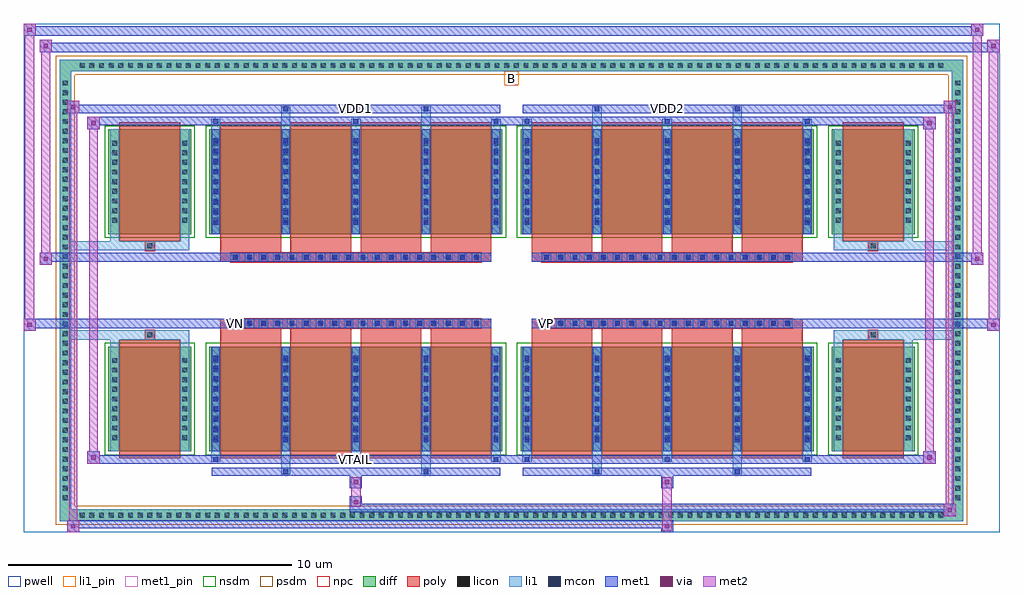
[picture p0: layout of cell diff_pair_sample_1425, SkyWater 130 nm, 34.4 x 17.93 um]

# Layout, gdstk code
import gdstk
lib = gdstk.Library(unit=1e-6, precision=5e-09)
def R(c, l, rs):  # rectangles x0, y0, x1, y1
    for r in rs: c.add(gdstk.rectangle(r[:2], r[2:], *l))
def A(c, l, x, y, w, h, nx, ny, dx, dy):  # array of equal rectangles
    R(c, l, [(x+i*dx, y+j*dy, x+i*dx+w, y+j*dy+h) for i in range(nx) for j in range(ny)])
def P(c, l, *ps):  # polygons
    for p in ps: c.add(gdstk.Polygon(p, *l))
pwell = (64, 44)
diff = (65, 20)
poly = (66, 20)
licon = (66, 44)
li1_pin = (67, 16)
li1 = (67, 20)
mcon = (67, 44)
met1_pin = (68, 16)
met1 = (68, 20)
via = (68, 44)
met2 = (69, 20)
nsdm = (93, 44)
psdm = (94, 20)
npc = (95, 20)

diff_pair_sample_1425 = lib.new_cell('diff_pair_sample_1425')
R(diff_pair_sample_1425, pwell, [(-17.2,-8.53,17.2,9.4), (-14.52,-6.72,-0.01,-0.8), (0.01,-6.72,14.52,-0.8), (-14.52,0.8,-0.01,6.72), (0.01,0.8,14.52,6.72)])
A(diff_pair_sample_1425, diff, -15.335, -8.13, 0.41, 0.41, 90, 2, 0.34, 15.85)
A(diff_pair_sample_1425, diff, -15.93, -7.515, 0.41, 0.41, 1, 44, 0, 0.34)
A(diff_pair_sample_1425, diff, 15.52, -7.515, 0.41, 0.41, 1, 44, 0, 0.34)
R(diff_pair_sample_1425, diff, [(-15.335,-8.13,15.335,-7.72), (-15.93,-7.515,-15.52,7.515), (15.52,-7.515,15.93,7.515), (-14.21,-5.675,-11.29,-1.985), (-10.65,-5.675,-0.32,-1.985), (0.32,-5.675,10.65,-1.985), (11.29,-5.675,14.21,-1.985), (-14.21,1.985,-11.29,5.675), (-10.65,1.985,-0.32,5.675), (0.32,1.985,10.65,5.675), (11.29,1.985,14.21,5.675), (-15.335,7.72,15.335,8.13)])
P(diff_pair_sample_1425, diff, [(15.93,8.13),(-15.93,8.13),(-15.93,-7.72),(-15.52,-7.72),(-15.52,7.72),(15.52,7.72),(15.52,-7.72),(-15.52,-7.72),(-15.93,-7.72),(-15.93,-8.13),(15.93,-8.13)])
A(diff_pair_sample_1425, poly, -10.26, -5.925, 2.14, 4.19, 4, 2, 2.47, 7.66)
A(diff_pair_sample_1425, poly, 0.71, -5.925, 2.14, 4.19, 4, 2, 2.47, 7.66)
A(diff_pair_sample_1425, poly, -10.26, -1.735, 2.14, 0.405, 4, 2, 2.47, 3.065)
A(diff_pair_sample_1425, poly, 0.71, -1.735, 2.14, 0.405, 4, 2, 2.47, 3.065)
A(diff_pair_sample_1425, poly, -9.9, -1.33, 0.33, 0.33, 18, 2, 0.5, 2.33)
A(diff_pair_sample_1425, poly, 1.07, -1.33, 0.33, 0.33, 18, 2, 0.5, 2.33)
R(diff_pair_sample_1425, poly, [(-13.82,-5.925,-11.68,-1.735), (11.68,-5.925,13.82,-1.735), (-12.915,-1.735,-12.585,-1.405), (-12.915,-1.735,-12.585,-1.405), (12.585,-1.735,12.915,-1.405), (12.585,-1.735,12.915,-1.405), (-10.26,-1.33,-0.71,-1), (0.71,-1.33,10.26,-1), (-10.26,1,-0.71,1.33), (0.71,1,10.26,1.33), (-12.915,1.405,-12.585,1.735), (-12.915,1.405,-12.585,1.735), (12.585,1.405,12.915,1.735), (12.585,1.405,12.915,1.735), (-13.82,1.735,-11.68,5.925), (11.68,1.735,13.82,5.925)])
A(diff_pair_sample_1425, licon, -15.215, -8.01, 0.17, 0.17, 90, 2, 0.34, 15.85)
A(diff_pair_sample_1425, licon, -15.81, -7.395, 0.17, 0.17, 1, 44, 0, 0.34)
A(diff_pair_sample_1425, licon, 15.64, -7.395, 0.17, 0.17, 1, 44, 0, 0.34)
A(diff_pair_sample_1425, licon, -14.07, -5.275, 0.17, 0.17, 1, 9, 0, 0.34)
A(diff_pair_sample_1425, licon, -11.6, -5.275, 0.17, 0.17, 1, 9, 0, 0.34)
A(diff_pair_sample_1425, licon, -10.51, -5.275, 0.17, 0.17, 5, 9, 2.47, 0.34)
A(diff_pair_sample_1425, licon, 0.46, -5.275, 0.17, 0.17, 5, 9, 2.47, 0.34)
A(diff_pair_sample_1425, licon, 11.43, -5.275, 0.17, 0.17, 1, 9, 0, 0.34)
A(diff_pair_sample_1425, licon, 13.9, -5.275, 0.17, 0.17, 1, 9, 0, 0.34)
A(diff_pair_sample_1425, licon, -9.82, -1.25, 0.17, 0.17, 18, 2, 0.5, 2.33)
A(diff_pair_sample_1425, licon, 1.15, -1.25, 0.17, 0.17, 18, 2, 0.5, 2.33)
A(diff_pair_sample_1425, licon, -14.07, 2.385, 0.17, 0.17, 1, 9, 0, 0.34)
A(diff_pair_sample_1425, licon, -11.6, 2.385, 0.17, 0.17, 1, 9, 0, 0.34)
A(diff_pair_sample_1425, licon, -10.51, 2.385, 0.17, 0.17, 5, 9, 2.47, 0.34)
A(diff_pair_sample_1425, licon, 0.46, 2.385, 0.17, 0.17, 5, 9, 2.47, 0.34)
A(diff_pair_sample_1425, licon, 11.43, 2.385, 0.17, 0.17, 1, 9, 0, 0.34)
A(diff_pair_sample_1425, licon, 13.9, 2.385, 0.17, 0.17, 1, 9, 0, 0.34)
R(diff_pair_sample_1425, licon, [(-12.835,-1.655,-12.665,-1.485), (12.665,-1.655,12.835,-1.485), (-12.835,1.485,-12.665,1.655), (12.665,1.485,12.835,1.655)])
R(diff_pair_sample_1425, li1_pin, [(-0.25,7.22,0.25,7.72)])
A(diff_pair_sample_1425, li1, -15.295, -8.09, 0.33, 0.33, 90, 2, 0.34, 15.85)
A(diff_pair_sample_1425, li1, -15.89, -7.475, 0.33, 0.33, 1, 44, 0, 0.34)
A(diff_pair_sample_1425, li1, 15.56, -7.475, 0.33, 0.33, 1, 44, 0, 0.34)
A(diff_pair_sample_1425, li1, -10.59, -6.05, 0.33, 0.375, 3, 2, 4.94, 11.725)
A(diff_pair_sample_1425, li1, -10.51, -6.05, 0.17, 0.17, 3, 2, 4.94, 11.93)
A(diff_pair_sample_1425, li1, 0.38, -6.05, 0.33, 0.375, 3, 2, 4.94, 11.725)
A(diff_pair_sample_1425, li1, 0.46, -6.05, 0.17, 0.17, 3, 2, 4.94, 11.93)
A(diff_pair_sample_1425, li1, -10.59, -5.675, 0.33, 3.69, 5, 2, 2.47, 7.66)
A(diff_pair_sample_1425, li1, 0.38, -5.675, 0.33, 3.69, 5, 2, 2.47, 7.66)
A(diff_pair_sample_1425, li1, -14.15, -5.355, 0.33, 0.33, 1, 9, 0, 0.34)
A(diff_pair_sample_1425, li1, -11.68, -5.355, 0.33, 0.33, 1, 9, 0, 0.34)
A(diff_pair_sample_1425, li1, -10.59, -5.355, 0.33, 0.33, 5, 9, 2.47, 0.34)
A(diff_pair_sample_1425, li1, -10.51, -5.355, 0.17, 0.17, 5, 9, 2.47, 0.36)
A(diff_pair_sample_1425, li1, -10.51, -5.355, 0.17, 3.05, 5, 2, 2.47, 7.66)
A(diff_pair_sample_1425, li1, 0.38, -5.355, 0.33, 0.33, 5, 9, 2.47, 0.34)
A(diff_pair_sample_1425, li1, 0.46, -5.355, 0.17, 0.17, 5, 9, 2.47, 0.36)
A(diff_pair_sample_1425, li1, 0.46, -5.355, 0.17, 3.05, 5, 2, 2.47, 7.66)
A(diff_pair_sample_1425, li1, 11.35, -5.355, 0.33, 0.33, 1, 9, 0, 0.34)
A(diff_pair_sample_1425, li1, 13.82, -5.355, 0.33, 0.33, 1, 9, 0, 0.34)
A(diff_pair_sample_1425, li1, -9.9, -1.33, 0.33, 0.33, 18, 2, 0.5, 2.33)
A(diff_pair_sample_1425, li1, 1.07, -1.33, 0.33, 0.33, 18, 2, 0.5, 2.33)
A(diff_pair_sample_1425, li1, -14.15, 2.305, 0.33, 0.33, 1, 9, 0, 0.34)
A(diff_pair_sample_1425, li1, -11.68, 2.305, 0.33, 0.33, 1, 9, 0, 0.34)
A(diff_pair_sample_1425, li1, -10.59, 2.305, 0.33, 0.33, 5, 9, 2.47, 0.34)
A(diff_pair_sample_1425, li1, -10.51, 2.305, 0.17, 0.17, 5, 9, 2.47, 0.36)
A(diff_pair_sample_1425, li1, 0.38, 2.305, 0.33, 0.33, 5, 9, 2.47, 0.34)
A(diff_pair_sample_1425, li1, 0.46, 2.305, 0.17, 0.17, 5, 9, 2.47, 0.36)
A(diff_pair_sample_1425, li1, 11.35, 2.305, 0.33, 0.33, 1, 9, 0, 0.34)
A(diff_pair_sample_1425, li1, 13.82, 2.305, 0.33, 0.33, 1, 9, 0, 0.34)
R(diff_pair_sample_1425, li1, [(-15.93,-8.13,-15.52,-7.72), (-15.93,-8.13,-15.52,-7.72), (-15.52,-8.13,15.52,-7.72), (15.52,-8.13,15.93,-7.72), (15.52,-8.13,15.93,-7.72), (-15.93,-7.72,-15.52,7.72), (15.52,-7.72,15.93,7.72), (-8.12,-6.48,-7.79,-5.675), (-8.04,-6.48,-7.87,-6.31), (-3.18,-6.48,-2.85,-5.675), (-3.1,-6.48,-2.93,-6.31), (2.85,-6.48,3.18,-5.675), (2.93,-6.48,3.1,-6.31), (7.79,-6.48,8.12,-5.675), (7.87,-6.48,8.04,-6.31), (-14.15,-5.675,-13.82,-1.985), (-11.68,-5.675,-11.35,-1.985), (11.35,-5.675,11.68,-1.985), (13.82,-5.675,14.15,-1.985), (-14.15,-1.985,-13.82,-1.405), (-11.68,-1.985,-11.35,-1.405), (11.35,-1.985,11.68,-1.405), (13.82,-1.985,14.15,-1.405), (-15.93,-1.735,-12.915,-1.405), (-14.15,-1.735,-12.915,-1.405), (-12.915,-1.735,-12.585,-1.405), (-12.585,-1.735,-11.35,-1.405), (11.35,-1.735,12.585,-1.405), (12.585,-1.735,12.915,-1.405), (12.585,-1.735,15.93,-1.405), (12.915,-1.735,14.15,-1.405), (-15.93,1.405,-12.915,1.735), (-14.15,1.405,-12.915,1.735), (-14.15,1.405,-13.82,1.985), (-12.915,1.405,-12.585,1.735), (-12.585,1.405,-11.35,1.735), (-11.68,1.405,-11.35,1.985), (11.35,1.405,12.585,1.735), (11.35,1.405,11.68,1.985), (12.585,1.405,12.915,1.735), (12.585,1.405,15.93,1.735), (12.915,1.405,14.15,1.735), (13.82,1.405,14.15,1.985), (-14.15,1.985,-13.82,5.675), (-11.68,1.985,-11.35,5.675), (11.35,1.985,11.68,5.675), (13.82,1.985,14.15,5.675), (-8.12,5.675,-7.79,6.48), (-3.18,5.675,-2.85,6.48), (2.85,5.675,3.18,6.48), (7.79,5.675,8.12,6.48), (-8.04,6.31,-7.87,6.48), (-3.1,6.31,-2.93,6.48), (2.93,6.31,3.1,6.48), (7.87,6.31,8.04,6.48), (-15.93,7.72,-15.52,8.13), (-15.93,7.72,-15.52,8.13), (-15.52,7.72,15.52,8.13), (15.52,7.72,15.93,8.13), (15.52,7.72,15.93,8.13)])
A(diff_pair_sample_1425, mcon, -10.51, -6.05, 0.17, 0.17, 3, 2, 4.94, 11.93)
A(diff_pair_sample_1425, mcon, 0.46, -6.05, 0.17, 0.17, 3, 2, 4.94, 11.93)
A(diff_pair_sample_1425, mcon, -10.51, -5.355, 0.17, 0.17, 5, 9, 2.47, 0.36)
A(diff_pair_sample_1425, mcon, 0.46, -5.355, 0.17, 0.17, 5, 9, 2.47, 0.36)
A(diff_pair_sample_1425, mcon, -9.82, -1.25, 0.17, 0.17, 18, 2, 0.5, 2.33)
A(diff_pair_sample_1425, mcon, 1.15, -1.25, 0.17, 0.17, 18, 2, 0.5, 2.33)
A(diff_pair_sample_1425, mcon, -10.51, 2.305, 0.17, 0.17, 5, 9, 2.47, 0.36)
A(diff_pair_sample_1425, mcon, 0.46, 2.305, 0.17, 0.17, 5, 9, 2.47, 0.36)
R(diff_pair_sample_1425, mcon, [(-8.04,-6.48,-7.87,-6.31), (-3.1,-6.48,-2.93,-6.31), (2.93,-6.48,3.1,-6.31), (7.87,-6.48,8.04,-6.31), (-8.04,6.31,-7.87,6.48), (-3.1,6.31,-2.93,6.48), (2.93,6.31,3.1,6.48), (7.87,6.31,8.04,6.48)])
R(diff_pair_sample_1425, met1_pin, [(-5.62,-6.09,-5.35,-5.82), (-9.87,-1.29,-9.6,-1.02), (1.1,-1.29,1.37,-1.02), (-5.62,6.27,-5.35,6.54), (5.35,6.27,5.62,6.54)])
A(diff_pair_sample_1425, met1, -10.57, -6.11, 0.29, 0.29, 3, 2, 4.94, 11.93)
A(diff_pair_sample_1425, met1, 0.4, -6.11, 0.29, 0.29, 3, 2, 4.94, 11.93)
A(diff_pair_sample_1425, met1, -10.57, -5.675, 0.29, 3.69, 5, 2, 2.47, 7.66)
A(diff_pair_sample_1425, met1, 0.4, -5.675, 0.29, 3.69, 5, 2, 2.47, 7.66)
A(diff_pair_sample_1425, met1, -10.57, -5.415, 0.29, 0.29, 5, 9, 2.47, 0.36)
A(diff_pair_sample_1425, met1, 0.4, -5.415, 0.29, 0.29, 5, 9, 2.47, 0.36)
A(diff_pair_sample_1425, met1, -9.88, -1.31, 0.29, 0.29, 18, 2, 0.5, 2.33)
A(diff_pair_sample_1425, met1, 1.09, -1.31, 0.29, 0.29, 18, 2, 0.5, 2.33)
A(diff_pair_sample_1425, met1, -10.57, 2.245, 0.29, 0.29, 5, 9, 2.47, 0.36)
A(diff_pair_sample_1425, met1, 0.4, 2.245, 0.29, 0.29, 5, 9, 2.47, 0.36)
R(diff_pair_sample_1425, met1, [(-15.66,-8.53,-15.23,-8.1), (5.27,-8.53,5.7,-8.1), (-15.66,-8.39,5.7,-8.1), (15.23,-7.96,15.66,-7.53), (-5.7,-7.82,15.66,-7.53), (-5.7,-7.68,-5.27,-7.25), (-5.7,-6.97,-5.27,-6.54), (5.27,-6.97,5.7,-6.54), (-10.57,-6.54,-0.4,-6.25), (-8.1,-6.54,-7.81,-6.25), (-3.16,-6.54,-2.87,-6.25), (0.4,-6.54,10.57,-6.25), (2.87,-6.54,3.16,-6.25), (7.81,-6.54,8.1,-6.25), (-14.95,-6.11,-14.52,-5.68), (-14.95,-6.11,-10.57,-5.82), (-10.57,-6.11,-0.4,-5.82), (-0.4,-6.11,0.4,-5.82), (0.4,-6.11,10.57,-5.82), (10.57,-6.11,14.95,-5.82), (14.52,-6.11,14.95,-5.68), (-17.2,-1.43,-16.77,-1), (16.77,-1.43,17.2,-1), (-17.2,-1.33,-0.71,-1), (-10.26,-1.33,-0.71,-1), (0.71,-1.33,10.26,-1), (0.71,-1.33,17.2,-1), (-16.63,0.9,-16.2,1.33), (16.2,0.9,16.63,1.33), (-16.63,1,-10.26,1.33), (-10.26,1,-0.71,1.33), (0.71,1,10.26,1.33), (10.26,1,16.63,1.33), (-14.95,5.68,-14.52,6.11), (14.52,5.68,14.95,6.11), (-14.95,5.82,-10.57,6.11), (-10.57,5.82,-0.4,6.11), (-0.4,5.82,0.4,6.11), (0.4,5.82,10.57,6.11), (10.57,5.82,14.95,6.11), (-15.66,6.25,-15.23,6.68), (-15.66,6.25,-10.57,6.54), (-10.57,6.25,-0.4,6.54), (-8.1,6.25,-7.81,6.54), (-3.16,6.25,-2.87,6.54), (0.4,6.25,10.57,6.54), (2.87,6.25,3.16,6.54), (7.81,6.25,8.1,6.54), (10.57,6.25,15.66,6.54), (15.23,6.25,15.66,6.68), (-16.63,8.4,-16.2,8.83), (-16.63,8.4,-14.52,8.73), (-14.52,8.4,14.52,8.73), (14.52,8.4,17.2,8.73), (16.77,8.4,17.2,8.83), (-17.2,8.97,-16.77,9.4), (-17.2,8.97,-14.52,9.3), (-14.52,8.97,14.52,9.3), (14.52,8.97,16.63,9.3), (16.2,8.97,16.63,9.4)])
R(diff_pair_sample_1425, via, [(-15.52,-8.39,-15.37,-8.24), (5.41,-8.39,5.56,-8.24), (15.37,-7.82,15.52,-7.67), (-5.56,-7.54,-5.41,-7.39), (-5.56,-6.83,-5.41,-6.68), (5.41,-6.83,5.56,-6.68), (-14.81,-5.97,-14.66,-5.82), (14.66,-5.97,14.81,-5.82), (-17.06,-1.29,-16.91,-1.14), (16.91,-1.29,17.06,-1.14), (-16.49,1.04,-16.34,1.19), (16.34,1.04,16.49,1.19), (-14.81,5.82,-14.66,5.97), (14.66,5.82,14.81,5.97), (-15.52,6.39,-15.37,6.54), (15.37,6.39,15.52,6.54), (-16.49,8.54,-16.34,8.69), (16.91,8.54,17.06,8.69), (-17.06,9.11,-16.91,9.26), (16.34,9.11,16.49,9.26)])
R(diff_pair_sample_1425, met2, [(-15.66,-8.53,-15.23,-8.1), (-15.59,-8.53,-15.3,6.68), (-15.3,-8.53,-15.23,-8.1), (-15.61,-8.48,-15.28,-8.15), (5.32,-8.48,5.65,-8.15), (5.32,-8.15,5.65,-6.92), (15.23,-7.96,15.66,-7.53), (15.3,-7.96,15.59,6.68), (15.59,-7.96,15.66,-7.53), (15.28,-7.91,15.61,-7.58), (-5.65,-7.63,-5.32,-7.3), (-5.65,-7.3,-5.32,-6.92), (-5.65,-6.92,-5.32,-6.59), (5.32,-6.92,5.65,-6.59), (-14.95,-6.11,-14.52,-5.68), (-14.88,-6.11,-14.59,6.11), (-14.59,-6.11,-14.52,-5.68), (14.52,-6.11,14.95,-5.68), (14.59,-6.11,14.88,6.11), (14.88,-6.11,14.95,-5.68), (-14.9,-6.06,-14.57,-5.73), (14.57,-6.06,14.9,-5.73), (-17.2,-1.43,-16.77,-1), (-17.15,-1.43,-16.82,9.4), (-16.82,-1.43,-16.77,-1), (16.77,-1.43,17.2,-1), (16.82,-1.43,17.15,8.83), (17.15,-1.43,17.2,-1), (-17.15,-1.38,-16.82,-1.05), (16.82,-1.38,17.15,-1.05), (-16.63,0.9,-16.2,1.33), (-16.58,0.9,-16.25,8.83), (-16.25,0.9,-16.2,1.33), (16.2,0.9,16.63,1.33), (16.25,0.9,16.58,9.4), (16.58,0.9,16.63,1.33), (-16.58,0.95,-16.25,1.28), (16.25,0.95,16.58,1.28), (-14.95,5.68,-14.52,6.11), (-14.59,5.68,-14.52,6.11), (14.52,5.68,14.95,6.11), (14.88,5.68,14.95,6.11), (-14.9,5.73,-14.57,6.06), (14.57,5.73,14.9,6.06), (-15.66,6.25,-15.23,6.68), (-15.3,6.25,-15.23,6.68), (15.23,6.25,15.66,6.68), (15.59,6.25,15.66,6.68), (-15.61,6.3,-15.28,6.63), (15.28,6.3,15.61,6.63), (-16.63,8.4,-16.2,8.83), (-16.25,8.4,-16.2,8.83), (16.77,8.4,17.2,8.83), (17.15,8.4,17.2,8.83), (-16.58,8.45,-16.25,8.78), (16.82,8.45,17.15,8.78), (-17.2,8.97,-16.77,9.4), (-16.82,8.97,-16.77,9.4), (16.2,8.97,16.63,9.4), (16.58,8.97,16.63,9.4), (-17.15,9.02,-16.82,9.35), (16.25,9.02,16.58,9.35)])
R(diff_pair_sample_1425, nsdm, [(-14.34,-5.805,-11.16,-1.855), (-10.78,-5.805,-0.19,-1.855), (0.19,-5.805,10.78,-1.855), (11.16,-5.805,14.34,-1.855), (-14.34,1.855,-11.16,5.805), (-10.78,1.855,-0.19,5.805), (0.19,1.855,10.78,5.805), (11.16,1.855,14.34,5.805)])
P(diff_pair_sample_1425, psdm, [(16.06,8.26),(-16.06,8.26),(-16.06,-7.59),(-15.39,-7.59),(-15.39,7.59),(15.39,7.59),(15.39,-7.59),(-15.39,-7.59),(-16.06,-7.59),(-16.06,-8.26),(16.06,-8.26)])
A(diff_pair_sample_1425, npc, -9.92, -1.35, 0.37, 0.37, 18, 2, 0.5, 2.33)
A(diff_pair_sample_1425, npc, 1.05, -1.35, 0.37, 0.37, 18, 2, 0.5, 2.33)
R(diff_pair_sample_1425, npc, [(-12.935,-1.755,-12.565,-1.385), (12.565,-1.755,12.935,-1.385), (-9.92,-1.35,-9.05,-0.98), (-9.92,-1.35,-9.05,-0.98), (-9.42,-1.35,-8.55,-0.98), (-9.42,-1.35,-8.55,-0.98), (-8.92,-1.35,-8.05,-0.98), (-8.92,-1.35,-8.05,-0.98), (-8.42,-1.35,-7.55,-0.98), (-8.42,-1.35,-7.55,-0.98), (-7.92,-1.35,-7.05,-0.98), (-7.92,-1.35,-7.05,-0.98), (-7.42,-1.35,-6.55,-0.98), (-7.42,-1.35,-6.55,-0.98), (-6.92,-1.35,-6.05,-0.98), (-6.92,-1.35,-6.05,-0.98), (-6.42,-1.35,-5.55,-0.98), (-6.42,-1.35,-5.55,-0.98), (-5.92,-1.35,-5.05,-0.98), (-5.92,-1.35,-5.05,-0.98), (-5.42,-1.35,-4.55,-0.98), (-5.42,-1.35,-4.55,-0.98), (-4.92,-1.35,-4.05,-0.98), (-4.92,-1.35,-4.05,-0.98), (-4.42,-1.35,-3.55,-0.98), (-4.42,-1.35,-3.55,-0.98), (-3.92,-1.35,-3.05,-0.98), (-3.92,-1.35,-3.05,-0.98), (-3.42,-1.35,-2.55,-0.98), (-3.42,-1.35,-2.55,-0.98), (-2.92,-1.35,-2.05,-0.98), (-2.92,-1.35,-2.05,-0.98), (-2.42,-1.35,-1.55,-0.98), (-2.42,-1.35,-1.55,-0.98), (-1.92,-1.35,-1.05,-0.98), (-1.92,-1.35,-1.05,-0.98), (1.05,-1.35,1.92,-0.98), (1.05,-1.35,1.92,-0.98), (1.55,-1.35,2.42,-0.98), (1.55,-1.35,2.42,-0.98), (2.05,-1.35,2.92,-0.98), (2.05,-1.35,2.92,-0.98), (2.55,-1.35,3.42,-0.98), (2.55,-1.35,3.42,-0.98), (3.05,-1.35,3.92,-0.98), (3.05,-1.35,3.92,-0.98), (3.55,-1.35,4.42,-0.98), (3.55,-1.35,4.42,-0.98), (4.05,-1.35,4.92,-0.98), (4.05,-1.35,4.92,-0.98), (4.55,-1.35,5.42,-0.98), (4.55,-1.35,5.42,-0.98), (5.05,-1.35,5.92,-0.98), (5.05,-1.35,5.92,-0.98), (5.55,-1.35,6.42,-0.98), (5.55,-1.35,6.42,-0.98), (6.05,-1.35,6.92,-0.98), (6.05,-1.35,6.92,-0.98), (6.55,-1.35,7.42,-0.98), (6.55,-1.35,7.42,-0.98), (7.05,-1.35,7.92,-0.98), (7.05,-1.35,7.92,-0.98), (7.55,-1.35,8.42,-0.98), (7.55,-1.35,8.42,-0.98), (8.05,-1.35,8.92,-0.98), (8.05,-1.35,8.92,-0.98), (8.55,-1.35,9.42,-0.98), (8.55,-1.35,9.42,-0.98), (9.05,-1.35,9.92,-0.98), (9.05,-1.35,9.92,-0.98), (-9.92,0.98,-9.05,1.35), (-9.92,0.98,-9.05,1.35), (-9.42,0.98,-8.55,1.35), (-9.42,0.98,-8.55,1.35), (-8.92,0.98,-8.05,1.35), (-8.92,0.98,-8.05,1.35), (-8.42,0.98,-7.55,1.35), (-8.42,0.98,-7.55,1.35), (-7.92,0.98,-7.05,1.35), (-7.92,0.98,-7.05,1.35), (-7.42,0.98,-6.55,1.35), (-7.42,0.98,-6.55,1.35), (-6.92,0.98,-6.05,1.35), (-6.92,0.98,-6.05,1.35), (-6.42,0.98,-5.55,1.35), (-6.42,0.98,-5.55,1.35), (-5.92,0.98,-5.05,1.35), (-5.92,0.98,-5.05,1.35), (-5.42,0.98,-4.55,1.35), (-5.42,0.98,-4.55,1.35), (-4.92,0.98,-4.05,1.35), (-4.92,0.98,-4.05,1.35), (-4.42,0.98,-3.55,1.35), (-4.42,0.98,-3.55,1.35), (-3.92,0.98,-3.05,1.35), (-3.92,0.98,-3.05,1.35), (-3.42,0.98,-2.55,1.35), (-3.42,0.98,-2.55,1.35), (-2.92,0.98,-2.05,1.35), (-2.92,0.98,-2.05,1.35), (-2.42,0.98,-1.55,1.35), (-2.42,0.98,-1.55,1.35), (-1.92,0.98,-1.05,1.35), (-1.92,0.98,-1.05,1.35), (1.05,0.98,1.92,1.35), (1.05,0.98,1.92,1.35), (1.55,0.98,2.42,1.35), (1.55,0.98,2.42,1.35), (2.05,0.98,2.92,1.35), (2.05,0.98,2.92,1.35), (2.55,0.98,3.42,1.35), (2.55,0.98,3.42,1.35), (3.05,0.98,3.92,1.35), (3.05,0.98,3.92,1.35), (3.55,0.98,4.42,1.35), (3.55,0.98,4.42,1.35), (4.05,0.98,4.92,1.35), (4.05,0.98,4.92,1.35), (4.55,0.98,5.42,1.35), (4.55,0.98,5.42,1.35), (5.05,0.98,5.92,1.35), (5.05,0.98,5.92,1.35), (5.55,0.98,6.42,1.35), (5.55,0.98,6.42,1.35), (6.05,0.98,6.92,1.35), (6.05,0.98,6.92,1.35), (6.55,0.98,7.42,1.35), (6.55,0.98,7.42,1.35), (7.05,0.98,7.92,1.35), (7.05,0.98,7.92,1.35), (7.55,0.98,8.42,1.35), (7.55,0.98,8.42,1.35), (8.05,0.98,8.92,1.35), (8.05,0.98,8.92,1.35), (8.55,0.98,9.42,1.35), (8.55,0.98,9.42,1.35), (9.05,0.98,9.92,1.35), (9.05,0.98,9.92,1.35), (-12.935,1.385,-12.565,1.755), (12.565,1.385,12.935,1.755)])
diff_pair_sample_1425.add(gdstk.Label('VTAIL', (-5.485,-5.955), layer=68, texttype=5))
diff_pair_sample_1425.add(gdstk.Label('VN', (-9.735,-1.155), layer=68, texttype=5))
diff_pair_sample_1425.add(gdstk.Label('VP', (1.235,-1.155), layer=68, texttype=5))
diff_pair_sample_1425.add(gdstk.Label('B', (0,7.47), layer=67, texttype=5))
diff_pair_sample_1425.add(gdstk.Label('VDD2', (5.485,6.405), layer=68, texttype=5))
diff_pair_sample_1425.add(gdstk.Label('VDD1', (-5.485,6.405), layer=68, texttype=5))

lib.write_gds('diff_pair_sample_1425.gds')
